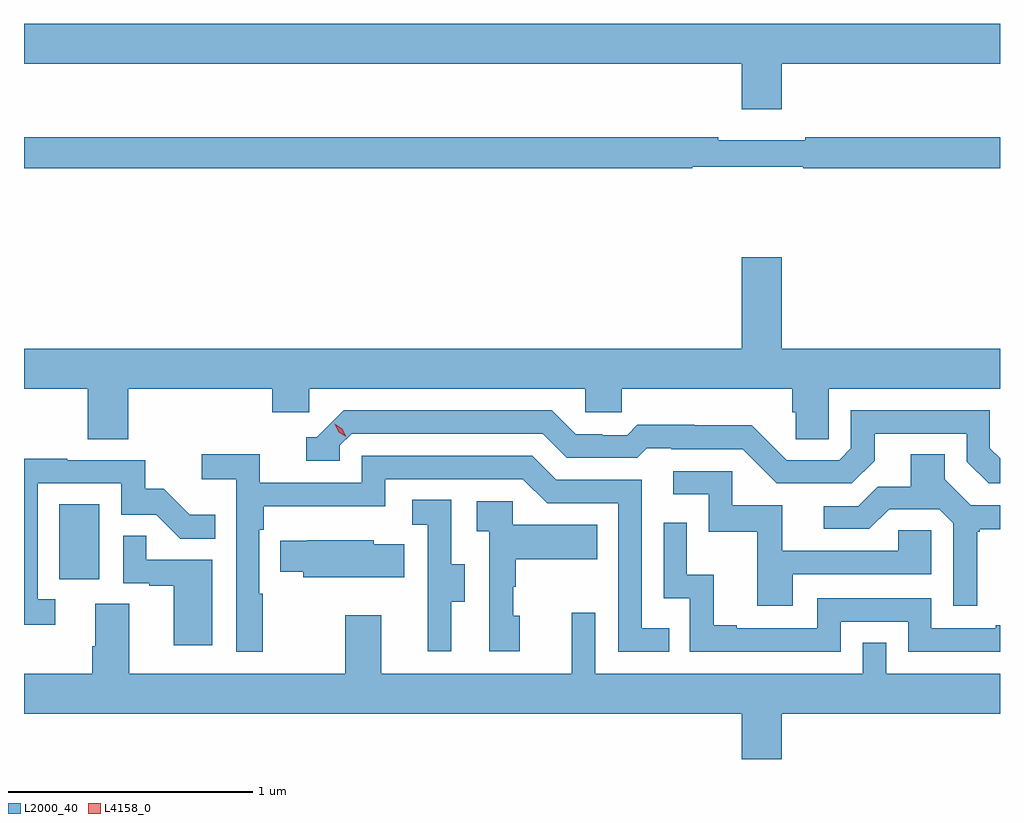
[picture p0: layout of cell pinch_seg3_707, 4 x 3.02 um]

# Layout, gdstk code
import gdstk
lib = gdstk.Library(unit=1e-6, precision=1e-09)
def R(c, l, rs):  # rectangles x0, y0, x1, y1
    for r in rs: c.add(gdstk.rectangle(r[:2], r[2:], *l))
def P(c, l, *ps):  # polygons
    for p in ps: c.add(gdstk.Polygon(p, *l))
L2000_40 = (2000, 40)
L4158_0 = (4158, 0)

pinch_seg3_707 = lib.new_cell('pinch_seg3_707')
R(pinch_seg3_707, L2000_40, [(1097.276,668.166,1097.44,668.473)])
P(pinch_seg3_707, L2000_40, [(1100.236,670.28),(1101.131,670.28),(1101.131,670.444),(1097.131,670.444),(1097.131,670.28),(1100.072,670.28),(1100.072,670.092),(1100.236,670.092)],
  [(1099.87,669.858),(1100.325,669.858),(1100.325,669.85),(1101.131,669.85),(1101.131,669.979),(1100.332,669.979),(1100.332,669.966),(1099.976,669.966),(1099.976,669.979),(1097.131,669.979),(1097.131,669.85),(1099.87,669.85)],
  [(1097.558,668.948),(1098.149,668.948),(1098.149,668.85),(1098.3,668.85),(1098.3,668.948),(1099.431,668.948),(1099.431,668.85),(1099.581,668.85),(1099.581,668.948),(1100.279,668.948),(1100.279,668.85),(1100.293,668.85),(1100.293,668.74),(1100.43,668.74),(1100.43,668.948),(1101.131,668.948),(1101.131,669.112),(1100.236,669.112),(1100.236,669.487),(1100.072,669.487),(1100.072,669.112),(1097.131,669.112),(1097.131,668.948),(1097.393,668.948),(1097.393,668.74),(1097.558,668.74)],
  [(1100.617,668.653),(1100.617,668.763),(1100.994,668.763),(1100.994,668.649),(1101.084,668.559),(1101.131,668.559),(1101.131,668.662),(1101.09,668.703),(1101.09,668.859),(1100.52,668.859),(1100.52,668.703),(1100.472,668.655),(1100.256,668.655),(1100.114,668.797),(1099.878,668.797),(1099.878,668.8),(1099.645,668.8),(1099.603,668.757),(1099.5,668.757),(1099.5,668.76),(1099.393,668.76),(1099.294,668.859),(1098.441,668.859),(1098.33,668.748),(1098.287,668.748),(1098.287,668.652),(1098.426,668.652),(1098.426,668.715),(1098.474,668.763),(1099.257,668.763),(1099.356,668.664),(1099.645,668.664),(1099.684,668.703),(1099.783,668.703),(1099.783,668.7),(1100.076,668.7),(1100.217,668.559),(1100.523,668.559)],
  [(1101.037,668.361),(1101.049,668.361),(1101.049,668.372),(1101.131,668.372),(1101.131,668.469),(1101.012,668.469),(1100.905,668.576),(1100.905,668.678),(1100.765,668.678),(1100.765,668.546),(1100.63,668.546),(1100.55,668.466),(1100.409,668.466),(1100.409,668.373),(1100.596,668.373),(1100.677,668.454),(1100.883,668.454),(1100.94,668.397),(1100.94,668.058),(1101.037,668.058)],
  [(1098.109,668.108),(1098.096,668.108),(1098.096,668.369),(1098.113,668.369),(1098.113,668.465),(1098.612,668.465),(1098.612,668.577),(1099.176,668.577),(1099.275,668.478),(1099.566,668.478),(1099.566,667.869),(1099.775,667.869),(1099.775,667.965),(1099.662,667.965),(1099.662,668.574),(1099.312,668.574),(1099.213,668.673),(1098.516,668.673),(1098.516,668.562),(1098.098,668.562),(1098.098,668.678),(1097.859,668.678),(1097.859,668.576),(1098,668.576),(1098,667.869),(1098.109,667.869)],
  [(1097.26,668.085),(1097.187,668.085),(1097.187,668.559),(1097.529,668.559),(1097.529,668.43),(1097.673,668.43),(1097.771,668.332),(1097.915,668.332),(1097.915,668.431),(1097.811,668.431),(1097.704,668.538),(1097.628,668.538),(1097.628,668.655),(1097.309,668.655),(1097.309,668.66),(1097.131,668.66),(1097.131,667.98),(1097.26,667.98)],
  [(1100.281,668.187),(1100.85,668.187),(1100.85,668.367),(1100.713,668.367),(1100.713,668.283),(1100.239,668.283),(1100.239,668.469),(1100.034,668.469),(1100.034,668.61),(1099.791,668.61),(1099.791,668.514),(1099.938,668.514),(1099.938,668.361),(1100.137,668.361),(1100.137,668.058),(1100.281,668.058)],
  [(1098.883,668.074),(1098.937,668.074),(1098.937,668.229),(1098.882,668.229),(1098.882,668.492),(1098.723,668.492),(1098.723,668.389),(1098.786,668.389),(1098.786,668.085),(1098.785,668.085),(1098.785,667.872),(1098.883,667.872)],
  [(1099.162,668.016),(1099.137,668.016),(1099.137,668.135),(1099.147,668.135),(1099.147,668.249),(1099.481,668.249),(1099.481,668.389),(1099.134,668.389),(1099.134,668.487),(1098.987,668.487),(1098.987,668.363),(1099.038,668.363),(1099.038,667.872),(1099.162,667.872)],
  [(1100.478,667.992),(1100.754,667.992),(1100.754,667.869),(1101.131,667.869),(1101.131,667.978),(1101.113,667.978),(1101.113,667.965),(1100.85,667.965),(1100.85,668.088),(1100.382,668.088),(1100.382,667.965),(1100.053,667.965),(1100.053,667.978),(1099.958,667.978),(1099.958,668.186),(1099.848,668.186),(1099.848,668.398),(1099.752,668.398),(1099.752,668.088),(1099.86,668.088),(1099.86,667.869),(1100.478,667.869)],
  [(1097.902,668.247),(1097.633,668.247),(1097.633,668.345),(1097.538,668.345),(1097.538,668.151),(1097.645,668.151),(1097.645,668.139),(1097.744,668.139),(1097.744,667.896),(1097.902,667.896)],
  [(1098.689,668.311),(1098.564,668.311),(1098.564,668.326),(1098.292,668.326),(1098.292,668.325),(1098.181,668.325),(1098.181,668.197),(1098.275,668.197),(1098.275,668.174),(1098.689,668.174)],
  [(1101.131,667.78),(1100.664,667.78),(1100.664,667.907),(1100.568,667.907),(1100.568,667.78),(1099.473,667.78),(1099.473,668.029),(1099.376,668.029),(1099.376,667.78),(1098.595,667.78),(1098.595,668.02),(1098.448,668.02),(1098.448,667.78),(1097.563,667.78),(1097.563,668.066),(1097.423,668.066),(1097.423,667.892),(1097.411,667.892),(1097.411,667.78),(1097.131,667.78),(1097.131,667.616),(1100.072,667.616),(1100.072,667.428),(1100.236,667.428),(1100.236,667.616),(1101.131,667.616)])
P(pinch_seg3_707, L4158_0, [(1098.451,668.75),(1098.42,668.77),(1098.405,668.803),(1098.405,668.803),(1098.405,668.803),(1098.436,668.783),(1098.451,668.75),(1098.451,668.75)])

lib.write_gds('pinch_seg3_707.gds')
